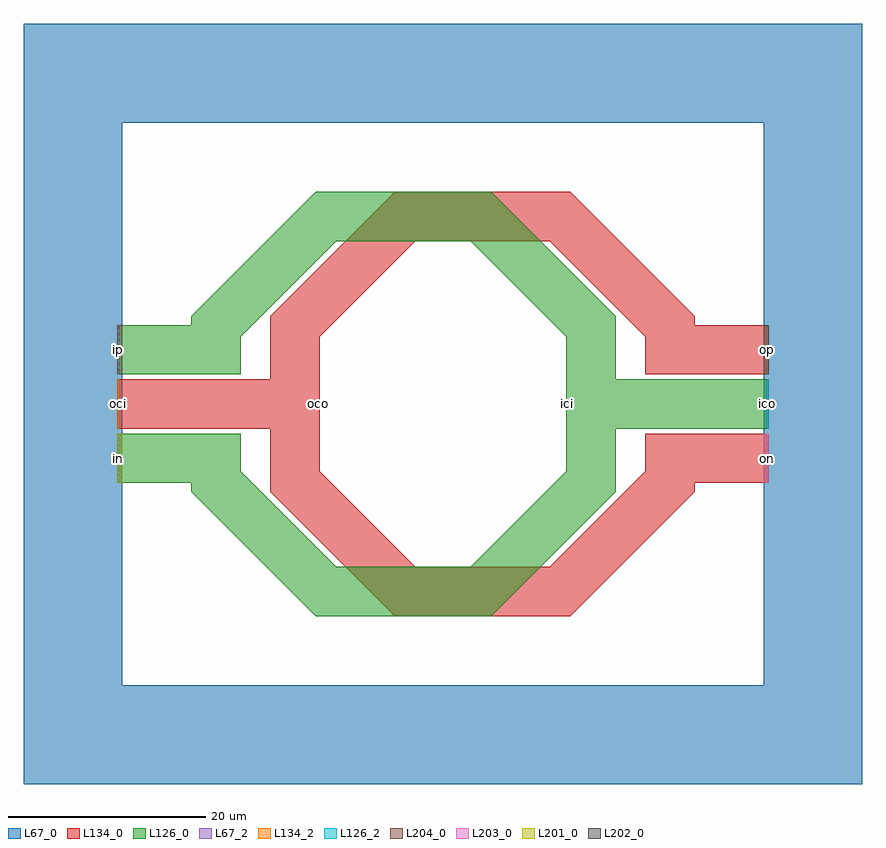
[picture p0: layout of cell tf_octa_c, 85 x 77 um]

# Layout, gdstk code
import gdstk
lib = gdstk.Library(unit=1e-6, precision=1e-09)
def R(c, l, rs):  # rectangles x0, y0, x1, y1
    for r in rs: c.add(gdstk.rectangle(r[:2], r[2:], *l))
def A(c, l, x, y, w, h, nx, ny, dx, dy):  # array of equal rectangles
    R(c, l, [(x+i*dx, y+j*dy, x+i*dx+w, y+j*dy+h) for i in range(nx) for j in range(ny)])
def P(c, l, *ps):  # polygons
    for p in ps: c.add(gdstk.Polygon(p, *l))
L67_0 = (67, 0)
L67_2 = (67, 2)
L126_0 = (126, 0)
L126_2 = (126, 2)
L134_0 = (134, 0)
L134_2 = (134, 2)
L201_0 = (201, 0)
L202_0 = (202, 0)
L203_0 = (203, 0)
L204_0 = (204, 0)

tf_octa_c = lib.new_cell('tf_octa_c')
R(tf_octa_c, L67_0, [(-42.5,-38.5,-32.5,38.5), (-32.5,-38.5,32.5,-28.5), (32.5,-38.5,42.5,28.5), (-32.5,28.5,42.5,38.5)])
A(tf_octa_c, L67_2, -33, -8, 0.25, 5, 1, 3, 0, 5.5)
A(tf_octa_c, L67_2, 32.75, -8, 0.25, 5, 1, 3, 0, 5.5)
P(tf_octa_c, L126_0, [(-24.035,5.365),(-25.5,6.83),(-25.5,8.9),(-12.9,21.5),(-10.83,21.5),(-9.365,20.035),(-9.365,17.965),(-21.965,5.365)],
  [(13.965,5.365),(1.365,17.965),(1.365,20.035),(2.83,21.5),(4.9,21.5),(17.5,8.9),(17.5,6.83),(16.035,5.365)],
  [(2.83,-21.5),(1.365,-20.035),(1.365,-17.965),(13.965,-5.365),(16.035,-5.365),(17.5,-6.83),(17.5,-8.9),(4.9,-21.5)],
  [(-12.9,-21.5),(-25.5,-8.9),(-25.5,-6.83),(-24.035,-5.365),(-21.965,-5.365),(-9.365,-17.965),(-9.365,-20.035),(-10.83,-21.5)])
R(tf_octa_c, L126_2, [(-33,-8,-32.75,-3), (32.75,-2.5,33,2.5), (12.5,-0.125,12.75,0.125), (-33,3,-32.75,8)])
P(tf_octa_c, L134_0, [(10.83,-21.5),(9.365,-20.035),(9.365,-17.965),(21.965,-5.365),(24.035,-5.365),(25.5,-6.83),(25.5,-8.9),(12.9,-21.5)],
  [(-4.9,-21.5),(-17.5,-8.9),(-17.5,-6.83),(-16.035,-5.365),(-13.965,-5.365),(-1.365,-17.965),(-1.365,-20.035),(-2.83,-21.5)],
  [(-16.035,5.365),(-17.5,6.83),(-17.5,8.9),(-4.9,21.5),(-2.83,21.5),(-1.365,20.035),(-1.365,17.965),(-13.965,5.365)],
  [(21.965,5.365),(9.365,17.965),(9.365,20.035),(10.83,21.5),(12.9,21.5),(25.5,8.9),(25.5,6.83),(24.035,5.365)])
R(tf_octa_c, L134_2, [(32.75,-8,33,-3), (-33,-2.5,-32.75,2.5), (-12.75,-0.125,-12.5,0.125), (32.75,3,33,8)])
R(tf_octa_c, L201_0, [(-33,-8,-32.5,-3)])
R(tf_octa_c, L202_0, [(32.5,3,33,8)])
R(tf_octa_c, L203_0, [(32.5,-8,33,-3)])
R(tf_octa_c, L204_0, [(-33,3,-32.5,8)])
tf_octa_c.add(gdstk.FlexPath([(-33,0),(-15,0)], 5, ends="flush", simple_path=True, layer=134, datatype=0))  # L134_0
tf_octa_c.add(gdstk.FlexPath([(33,-5.5),(23,-5.5)], 5, ends=(0, 2.5), simple_path=True, layer=134, datatype=0))  # L134_0
tf_octa_c.add(gdstk.FlexPath([(23,-5.5),(23,-7.865)], 5, ends=(2.5, 0), simple_path=True, layer=134, datatype=0))  # L134_0
tf_octa_c.add(gdstk.FlexPath([(11.865,-19),(-3.865,-19)], 5, ends="flush", simple_path=True, layer=134, datatype=0))  # L134_0
tf_octa_c.add(gdstk.FlexPath([(-15,-7.865),(-15,7.865)], 5, ends="flush", simple_path=True, layer=134, datatype=0))  # L134_0
tf_octa_c.add(gdstk.FlexPath([(-3.865,19),(11.865,19)], 5, ends="flush", simple_path=True, layer=134, datatype=0))  # L134_0
tf_octa_c.add(gdstk.FlexPath([(23,7.865),(23,5.5)], 5, ends=(0, 2.5), simple_path=True, layer=134, datatype=0))  # L134_0
tf_octa_c.add(gdstk.FlexPath([(23,5.5),(33,5.5)], 5, ends=(2.5, 0), simple_path=True, layer=134, datatype=0))  # L134_0
tf_octa_c.add(gdstk.FlexPath([(33,0),(15,0)], 5, ends="flush", simple_path=True, layer=126, datatype=0))  # L126_0
tf_octa_c.add(gdstk.FlexPath([(-33,5.5),(-23,5.5)], 5, ends=(0, 2.5), simple_path=True, layer=126, datatype=0))  # L126_0
tf_octa_c.add(gdstk.FlexPath([(-23,5.5),(-23,7.865)], 5, ends=(2.5, 0), simple_path=True, layer=126, datatype=0))  # L126_0
tf_octa_c.add(gdstk.FlexPath([(-11.865,19),(3.865,19)], 5, ends="flush", simple_path=True, layer=126, datatype=0))  # L126_0
tf_octa_c.add(gdstk.FlexPath([(15,7.865),(15,-7.865)], 5, ends="flush", simple_path=True, layer=126, datatype=0))  # L126_0
tf_octa_c.add(gdstk.FlexPath([(3.865,-19),(-11.865,-19)], 5, ends="flush", simple_path=True, layer=126, datatype=0))  # L126_0
tf_octa_c.add(gdstk.FlexPath([(-23,-7.865),(-23,-5.5)], 5, ends=(0, 2.5), simple_path=True, layer=126, datatype=0))  # L126_0
tf_octa_c.add(gdstk.FlexPath([(-23,-5.5),(-33,-5.5)], 5, ends=(2.5, 0), simple_path=True, layer=126, datatype=0))  # L126_0
tf_octa_c.add(gdstk.Label('oco', (-12.625,0), layer=134, texttype=2))
tf_octa_c.add(gdstk.Label('oci', (-32.875,0), layer=134, texttype=2))
tf_octa_c.add(gdstk.Label('on', (32.875,-5.5), layer=134, texttype=2))
tf_octa_c.add(gdstk.Label('op', (32.875,5.5), layer=134, texttype=2))
tf_octa_c.add(gdstk.Label('ico', (32.875,0), layer=126, texttype=2))
tf_octa_c.add(gdstk.Label('in', (-32.875,-5.5), layer=126, texttype=2))
tf_octa_c.add(gdstk.Label('ip', (-32.875,5.5), layer=126, texttype=2))
tf_octa_c.add(gdstk.Label('ici', (12.625,0), layer=126, texttype=2))

lib.write_gds('tf_octa_c.gds')
